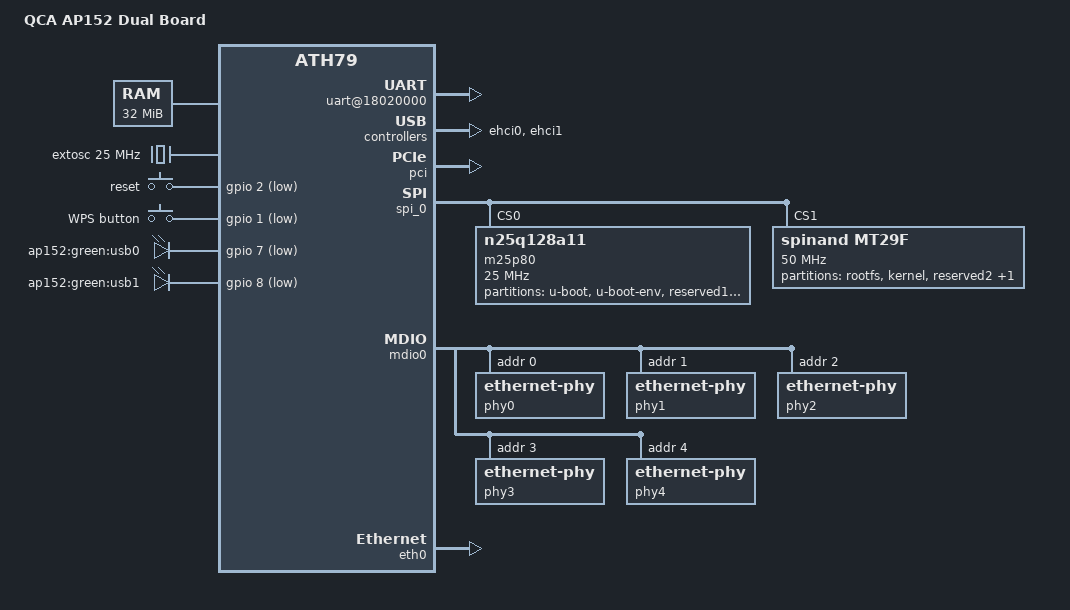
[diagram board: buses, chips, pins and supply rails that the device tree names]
/* Copyright (c) 2016-2017, The Linux Foundation. All rights reserved.
 *
 * Permission to use, copy, modify, and/or distribute this software for any
 * purpose with or without fee is hereby granted, provided that the above
 * copyright notice and this permission notice appear in all copies.
 *
 * THE SOFTWARE IS PROVIDED "AS IS" AND THE AUTHOR DISCLAIMS ALL WARRANTIES
 * WITH REGARD TO THIS SOFTWARE INCLUDING ALL IMPLIED WARRANTIES OF
 * MERCHANTABILITY AND FITNESS. IN NO EVENT SHALL THE AUTHOR BE LIABLE FOR
 * ANY SPECIAL, DIRECT, INDIRECT, OR CONSEQUENTIAL DAMAGES OR ANY DAMAGES
 * WHATSOEVER RESULTING FROM LOSS OF USE, DATA OR PROFITS, WHETHER IN AN
 * ACTION OF CONTRACT, NEGLIGENCE OR OTHER TORTIOUS ACTION, ARISING OUT OF
 * OR IN CONNECTION WITH THE USE OR PERFORMANCE OF THIS SOFTWARE.
 *
 */

/dts-v1/;

#include <dt-bindings/gpio/gpio.h>
#include <dt-bindings/input/input.h>

#include "ath79.dtsi"

/ {
	compatible = "qca,ap152_dual", "qca,ath79";
	model = "QCA AP152 Dual Board";

	aliases {
		serial0 = "/ahb/apb/uart@18020000";
		eth0 = "/ahb/ethernet@19000000";
	};

	memory@0 {
		device_type = "memory";
		reg = <0x0 0x2000000>;
	};

	extosc: oscillator {
		compatible = "fixed-clock";
		#clock-cells = <0>;
		clock-frequency = <25000000>;
	};

	chosen {
		bootargs = "board=DTB console=ttyS0,115200 mtdparts=spi0.1:64m(rootfs),2m(kernel),62m(reserved2),66m@0x0(firmware) rootfstype=squashfs,jffs2 noinitrd crashkernel=10M@20M";
	};

	ahb {
		apb {
			uart@18020000 {
				status = "okay";
			};

			gpio@18040000 {
				val,gpio = <
					33 3
					32 4
				>;
			};

			pll-controller@18050000 {
				clocks = <&extosc>;
			};

			ehci0: usb@1b000000 {
				compatible = "qca,ath79-ehci";
				reg = <0x1b000000 0x200>;
				interrupt-parent = <&ip3_int>;
				interrupts = <0>;
				has-transaction-translator;
				qca_force_host_mode;
				qca_force_16bit_ptw;
				caps-offset = <0x100>;
				status = "okay";
			};

			ehci1: usb@1b400000 {
				compatible = "qca,ath79-ehci";
				reg = <0x1b400000 0x200>;
				interrupt-parent = <&ip3_int>;
				interrupts = <1>;
				has-transaction-translator;
				qca_force_host_mode;
				qca_force_16bit_ptw;
				caps-offset = <0x100>;
				status = "okay";
			};

			pci: pci@0x16000000 {
				compatible = "qca,ar724x-pci";
				reg = <0x16000000 0x1000>,
				      <0x18280000 0x100>,
				      <0x18250000 0x1000>,
				      <0x12000000 0x02000000>,
					<1 1>;
				reg-names = "cfg_base","ctrl_base","crp_base",
						"mem_base","io_base";
				interrupt-parent = <&ip3_int>;
				interrupts = <2>;
				status = "okay";
			};
		};

		spi_0: spi@1f000000 {
			num-cs = <2>;
			status = "okay";
			m25p80@0 {
				#address-cells = <1>;
				#size-cells = <1>;
				compatible = "n25q128a11";
				linux,modalias = "m25p80", "n25q128a11";
				reg = <0>;
				spi-max-frequency = <25000000>;

				partition@0 {
					label = "u-boot";
					reg = <0x000000 0x040000>;
				};

				partition@1 {
					label = "u-boot-env";
					reg = <0x040000 0x050000>;
				};

				partition@2 {
					label = "reserved1";
					reg = <0x050000 0x1f0000>;
				};

				partition@3 {
					label = "art";
					reg = <0x1f0000 0x200000>;
				};

			};


			mt29f@1 {
				#address-cells = <1>;
				#size-cells = <1>;
				compatible = "spinand,mt29f";
				reg = <1>;
				spi-max-frequency = <50000000>;
				status = "okay";

				partition@0 {
					label = "rootfs";
					reg = <0x0000000 0x4000000>;
				};

				partition@1 {
					label = "kernel";
					reg = <0x4000000 0x4200000>;
				};

				partition@2 {
					label = "reserved2";
					reg = <0x4200000 0x8000000>;
				};

				partition@3 {
					label = "firmware";
					reg = <0x0000000 0x4200000>;
				};
			};
		};

		mdio0: mdio@19000000 {
			compatible = "qca,ag71xx-mdio";
			reg = <0x19000000 0x200>;
			phy-mask = <0>;
			builtin-switch = <0>;
			ar934x-support = <0>;
			reset-bit = <0x400000>;
			phy0: ethernet-phy@0 {
				reg = <0>;
				qca,ar8327-initvals = <
					0x00004 0x80080080     /* PAD0_MODE */
					0x0007c 0x7e        /* PORT0_STATUS */
				>;
			};
			phy1: ethernet-phy@1 {
				reg = <1>;
			};
			phy2: ethernet-phy@2 {
				reg = <2>;
			};
			phy3: ethernet-phy@3 {
				reg = <3>;
			};
			phy4: ethernet-phy@4 {
				reg = <4>;
			};
		};

		eth0: ethernet@19000000 {
			compatible = "qca,ag71xx-eth";
			reg = <0x19000000 0x200>,
				<0x18070000 0x14>;
			reg-names = "mac_base",
					"cfg_base";
			mdio-handle = <&mdio0>;
			eth-pll-data = <0x1919 0x101 0x3000000>;
			phy-mode = <3>;
			eth-cfg = <0x40>;
			phy-mask = <1>;
			force-speed = <1000>;
			force-duplex = <1>;
			max-frame-len = <1540>;
			desc-pktlen-mask = <0xfff>;
			reset-bit = <0x200>;
			has-gbit = <1>;
			ar724x-support = <1>;
			qca955x-support = <0>;
			qca9561-support = <1>;
			qca956x-support;
			fifo-cfg = <0x0010ffff 0x015500aa 0x01f00140>;
			interrupts = <4>;
			interrupt-names = "mac_irq";
			local-mac-address = [ 00 00 00 00 00 00 ];
		};
	};

	gpio-keys-polled {
		compatible = "gpio-keys-polled";
		#address-cells = <1>;
		#size-cells = <0>;

		poll-interval = <20>;
		button@0 {
			label = "reset";
			linux,code = <KEY_RESTART>;
			gpios = <&gpio 2 GPIO_ACTIVE_LOW>;
			debounce-interval = <60>;
		};

		button@1 {
			label = "WPS button";
			linux,code = <KEY_WPS_BUTTON>;
			gpios = <&gpio 1 GPIO_ACTIVE_LOW>;
			debounce-interval = <60>;
		};
	};

	leds {
		compatible = "gpio-leds";
		led@0 {
			label = "ap152:green:usb0";
			gpios = <&gpio 7 GPIO_ACTIVE_LOW>;

		};

		led@1 {
			label = "ap152:green:usb1";
			gpios = <&gpio 8 GPIO_ACTIVE_LOW>;

		};

	};
};
